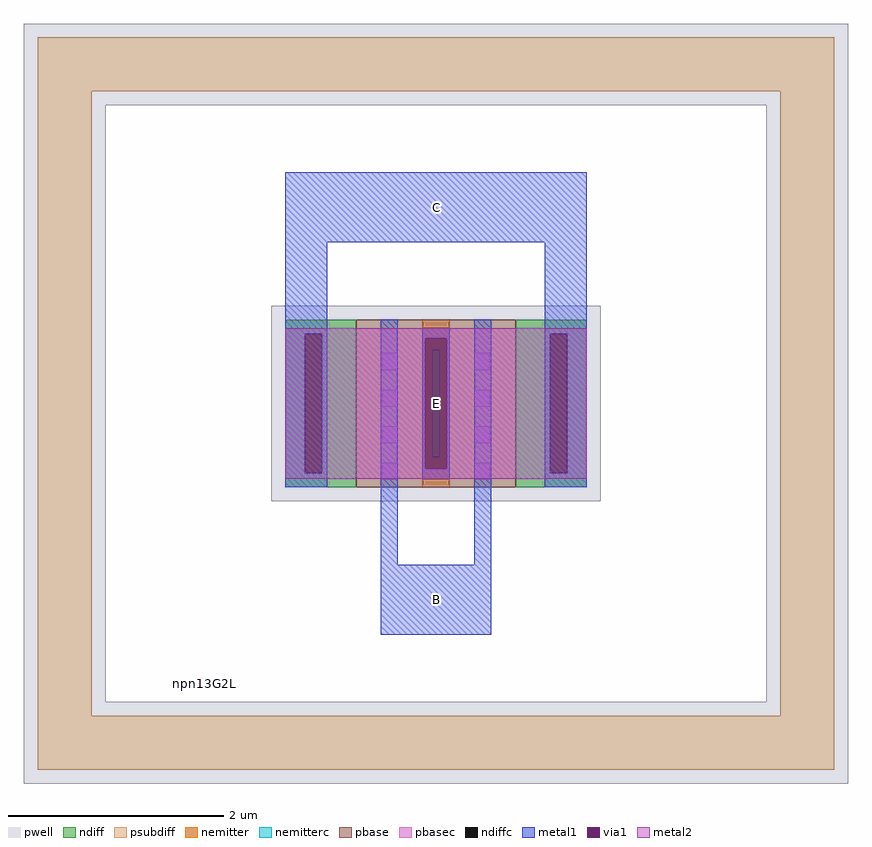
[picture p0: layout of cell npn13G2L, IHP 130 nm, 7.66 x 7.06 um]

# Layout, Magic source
magic
tech ihp-sg13g2
magscale 1 2
<< pwell >>
rect 14 1274 1546 1426
rect 14 166 166 1274
rect 474 876 1086 902
rect 474 564 632 876
rect 928 564 1086 876
rect 474 538 1086 564
rect 1394 166 1546 1274
rect 14 14 1546 166
<< pbase >>
rect 632 564 928 876
<< ndiff >>
rect 500 850 632 876
rect 500 590 536 850
rect 568 590 632 850
rect 928 850 1060 876
rect 500 564 632 590
rect 928 590 992 850
rect 1024 590 1060 850
rect 928 564 1060 590
<< pbasec >>
rect 677 782 709 814
rect 677 714 709 746
rect 677 646 709 678
rect 851 782 883 814
rect 851 714 883 746
rect 851 646 883 678
rect 677 578 709 610
rect 851 578 883 610
<< nemitter >>
rect 754 820 806 876
rect 754 620 773 820
rect 787 620 806 820
rect 754 564 806 620
<< nemitterc >>
rect 773 620 787 820
<< ndiffc >>
rect 536 590 568 850
rect 992 590 1024 850
<< psubdiff >>
rect 40 1300 1520 1400
rect 40 140 140 1300
rect 1420 140 1520 1300
rect 40 40 1520 140
<< metal1 >>
rect 500 1020 1060 1150
rect 500 850 578 1020
rect 500 590 536 850
rect 568 590 578 850
rect 500 564 578 590
rect 677 420 709 876
rect 754 841 806 860
rect 754 599 760 841
rect 800 599 806 841
rect 754 580 806 599
rect 851 420 883 876
rect 982 850 1060 1020
rect 982 590 992 850
rect 1024 590 1060 850
rect 982 564 1060 590
rect 677 290 883 420
<< via1 >>
rect 760 820 800 841
rect 760 620 773 820
rect 773 620 787 820
rect 787 620 800 820
rect 760 599 800 620
<< metal2 >>
rect 500 841 1060 860
rect 500 599 760 841
rect 800 599 1060 841
rect 500 580 1060 599
<< labels >>
flabel comment s 780 720 780 720 0 FreeSans 1400 0 0 0 E
flabel comment s 780 355 780 355 0 FreeSans 650 0 0 0 B
flabel comment s 780 1085 780 1085 0 FreeSans 650 0 0 0 C
flabel comment s 350 200 350 200 2 FreeSans 700 0 0 0 npn13G2L
flabel comment s 300 200 300 200 2 FreeSans 700 90 0 0 Ae=1*1*1.00*0.07
<< end >>
